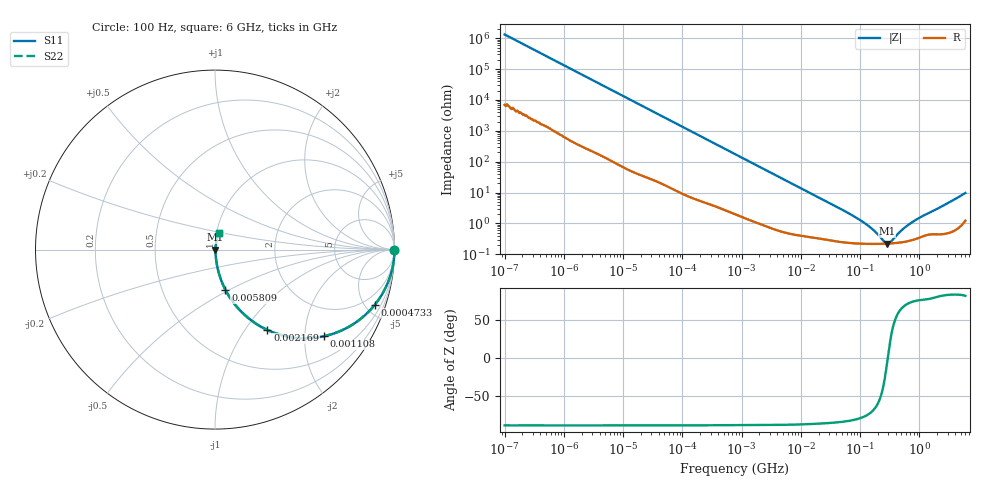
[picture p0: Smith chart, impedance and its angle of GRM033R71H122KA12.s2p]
!Murata Part Number: GRM033R71H122KA12
!These Parameters are Measured in Series Mode Connection
!Data Generated on Mar 30, 2021
!  o--ll--o
!Port1  Port2
!  o------o
!Operation Temp=25[degC], DC Bias Voltage=0[V]
!Freq. Start=100[Hz] Stop=6[GHz] 401[Steps]
# Hz S RI R 50
!Freq.(Hz) S11(Real) S11(Imag) S21(Real) S21(Imag) S12(Real) S12(Imag) S22(Real) S22(Imag)
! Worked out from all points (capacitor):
!   401 points, 100 Hz to 6 GHz, reference 50 ohm
!   read as one part in series: C = 1.19 nF near 109 Hz
!   lowest |Z| = 223 mohm at 285.7 MHz (marker M1)
!   series resonance near 293.4 MHz, so ESL is about 250 pH
!   S11 on the Smith chart (normalised r, x): 100 Hz: open; 473.3 kHz: 1.06, -5.79; 1.108 MHz: 1.03, -2.49; 2.169 MHz: 1.02, -1.28; 5.809 MHz: 1.01, -0.48; 6 GHz: 1.02, +0.19
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100  1 -7.52e-05  4e-07 7.52e-05  4e-07 7.52e-05  1 -7.52e-05
125  1 -9.4e-05  5e-07 9.4e-05  5e-07 9.4e-05  1 -9.4e-05
150  1 -0.000112  6e-07 0.000112  6e-07 0.000112  1 -0.000112
2008  1 -0.0015  9.2e-06 0.0015  9.2e-06 0.0015  1 -0.0015
40335  0.9989 -0.0297  0.00107 0.0297  0.00107 0.0297  0.9989 -0.0297
161617  0.9853 -0.1167  0.0147 0.1167  0.0147 0.1167  0.9853 -0.1167
473344  0.8911 -0.3066  0.1089 0.3066  0.1089 0.3066  0.8911 -0.3066
774597  0.7568 -0.4235  0.2432 0.4235  0.2432 0.4235  0.7568 -0.4235
1108252  0.6062 -0.4826  0.3938 0.4826  0.3938 0.4826  0.6062 -0.4826
1516199  0.4542 -0.4914  0.5458 0.4914  0.5458 0.4914  0.4542 -0.4914
2169299  0.2924 -0.4477  0.7076 0.4477  0.7076 0.4477  0.2924 -0.4477
3394479  0.1475 -0.3466  0.8525 0.3466  0.8525 0.3466  0.1475 -0.3466
5809218  0.0585 -0.2247  0.9415 0.2247  0.9415 0.2247  0.0585 -0.2247
1.555665e7  0.0115 -0.0887  0.9885 0.0887  0.9885 0.0887  0.0115 -0.0887
1.066761e8  0.00233 -0.0116  0.9977 0.0116  0.9977 0.0116  0.00233 -0.0116
1.596157e8  0.0022 -0.0063  0.9978 0.0063  0.9978 0.0063  0.0022 -0.0063
2.497637e8  0.00219 -0.00157  0.9978 0.00157  0.9978 0.00157  0.00219 -0.00157
2.856706e8  0.00221 -0.000259  0.9978 0.000259  0.9978 0.000259  0.00221 -0.000259
3.124326e8  0.00223 0.000613  0.9978 -0.000613  0.9978 -0.000613  0.00223 0.000613
5.112761e8  0.00248 0.00566  0.9975 -0.00566  0.9975 -0.00566  0.00248 0.00566
8.000355e8  0.00309 0.0113  0.9969 -0.0113  0.9969 -0.0113  0.00309 0.0113
6e9  0.021 0.0932  0.979 -0.0932  0.979 -0.0932  0.021 0.0932
